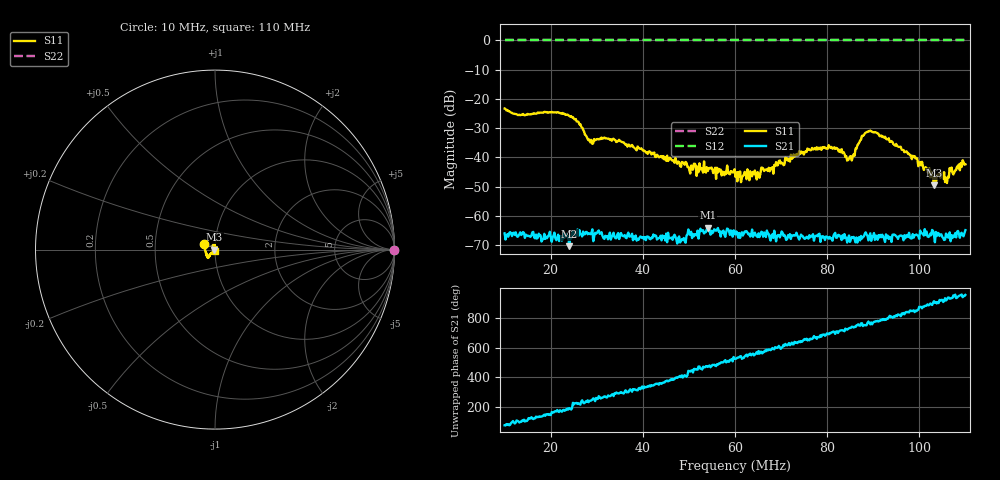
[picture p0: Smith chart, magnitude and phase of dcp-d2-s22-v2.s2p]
! Anritsu VNA Master:  Model: MS2034B/10/19/501
! SN:  1337062
! /bd0/ovro-jan-2016/dcp-d2-s22-v2.s2p
! Existing Calibration Information:
! TYPE:  Current Settings,  Active Cal Settings
! TIME:  01/09/2016 02:28:27 PM,  01/09/2016 12:40:35 PM
! INTERNAL TEMP:  41.0 C,  41.8 C
! # POINTS:  500,  500
! START FREQ:  10.000 MHz,  10.000 MHz
! STOP FREQ:  110.000 MHz,  110.000 MHz
! SOURCE POWER:  Low,  Low
! IFBW:  100 Hz,  100 Hz
! AVG FACTOR:  3 ,  3
! REF PLANE 1:  2.2245 m,  2.2245 m
! REF PLANE 2:  0 mm,  0 mm
! CAL TYPE:  1P2P S11,S21,  1P2P S11,S21
! CAL METHOD:  SOLT,  SOLT
! CAL LINE TYPE:  Coax,  Coax
! DUT PORT 1:  K-Conn(M),  K-Conn(M)
! DUT PORT 2:  N-Conn(M),  N-Conn(M)
! CAL STATUS:  OK: Accuracy High,  --
# GHZ S DB R 50.0
! FREQ.GHZ  S11DB  S11A  S21DB  S21A  S12DB  S12A  S22DB  S22A
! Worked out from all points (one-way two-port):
!   500 points, 10 MHz to 110 MHz, reference 50 ohm
!   highest |S21| = -64.08 dB at 54.09 MHz (marker M1); lowest = -70.4 dB at 24.03 MHz (marker M2)
!   lowest |S11| = -49.6 dB at 103.2 MHz (marker M3), VSWR 1.01, Z = 49.7 + j0.0362 ohm
!   |S11| at or under -10 dB: start of sweep to end of sweep
!   |S22| runs from 0.0 to 0.0 dB; largest |S21 - S12| = 1
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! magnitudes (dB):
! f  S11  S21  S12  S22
! 10 MHz  -23.3  -66.0  0.0  0.0
! 24.03 MHz  -25.8  -70.4  0.0  0.0
! 26.83 MHz  -29.8  -67.1  0.0  0.0
! 28.84 MHz  -34.0  -65.9  0.0  0.0
! 35.05 MHz  -34.4  -67.0  0.0  0.0
! 43.47 MHz  -40.0  -67.6  0.0  0.0
! 48.88 MHz  -41.9  -67.6  0.0  0.0
! 50.08 MHz  -44.1  -65.8  0.0  0.0
! 54.09 MHz  -44.7  -64.1  0.0  0.0
! 60.1 MHz  -46.6  -66.4  0.0  0.0
! 64.91 MHz  -45.0  -67.3  0.0  0.0
! 76.73 MHz  -36.8  -67.0  0.0  0.0
! 81.94 MHz  -36.8  -67.5  0.0  0.0
! 84.95 MHz  -39.7  -68.9  0.0  0.0
! 88.76 MHz  -31.3  -66.8  0.0  0.0
! 93.37 MHz  -33.4  -67.9  0.0  0.0
! 99.18 MHz  -40.4  -66.5  0.0  0.0
! 103.2 MHz  -49.6  -66.5  0.0  0.0
! 104.6 MHz  -47.0  -66.4  0.0  0.0
! 106 MHz  -48.8  -66.5  0.0  0.0
! 106.8 MHz  -44.5  -68.7  0.0  0.0
! 110 MHz  -42.4  -64.9  0.0  0.0
